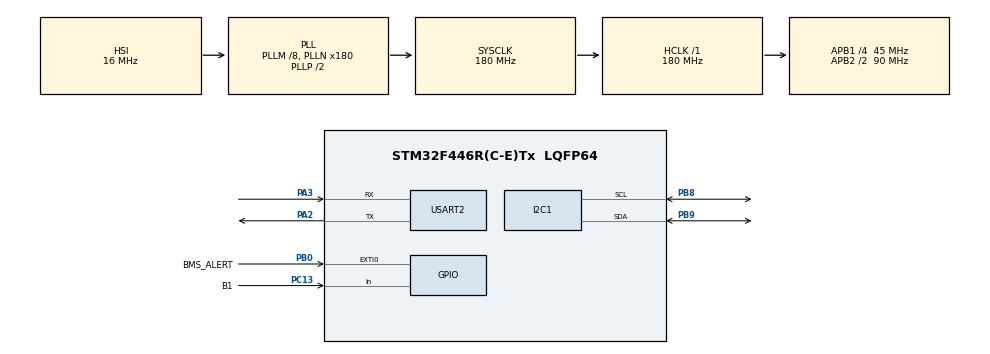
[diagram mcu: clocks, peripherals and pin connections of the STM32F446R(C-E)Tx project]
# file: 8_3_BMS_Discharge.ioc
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Mcu.Family=STM32F4
Mcu.Name=STM32F446R(C-E)Tx
Mcu.Package=LQFP64
NVIC.EXTI0_IRQn=true\:0\:0\:false\:false\:true\:true\:true\:true
NVIC.PriorityGroup=NVIC_PRIORITYGROUP_4
NVIC.USART2_IRQn=true\:0\:0\:false\:false\:true\:true\:true\:true
PA2.Mode=Asynchronous
PA2.Signal=USART2_TX
PA3.Mode=Asynchronous
PA3.Signal=USART2_RX
PB0.GPIO_Label=BMS_ALERT
PB0.GPIO_PuPd=GPIO_PULLDOWN
PB0.Signal=GPXTI0
PB8.Mode=I2C
PB8.Signal=I2C1_SCL
PB9.Mode=I2C
PB9.Signal=I2C1_SDA
PC13.GPIO_Label=B1
PC13.Signal=GPIO_Input
ProjectManager.HeapSize=0x200
ProjectManager.StackSize=0x400
ProjectManager.TargetToolchain=STM32CubeIDE
RCC.AHBFreq_Value=180000000
RCC.APB1CLKDivider=RCC_HCLK_DIV4
RCC.APB1Freq_Value=45000000
RCC.APB1TimFreq_Value=90000000
RCC.APB2CLKDivider=RCC_HCLK_DIV2
RCC.APB2Freq_Value=90000000
RCC.APB2TimFreq_Value=180000000
RCC.CortexFreq_Value=180000000
RCC.HCLKFreq_Value=180000000
RCC.PLLM=8
RCC.PLLN=180
RCC.SYSCLKFreq_VALUE=180000000
RCC.SYSCLKSource=RCC_SYSCLKSOURCE_PLLCLK
RCC.USBFreq_Value=180000000
RCC.VCOOutputFreq_Value=360000000
USART2.VirtualMode=VM_ASYNC
board=custom

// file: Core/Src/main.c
/* USER CODE BEGIN Header */
/**
  ******************************************************************************
  * @file           : main.c
  * @brief          : Main program body
  ******************************************************************************
  * @attention
  *
  * Copyright (c) 2026 STMicroelectronics.
  * All rights reserved.
  *
  * This software is licensed under terms that can be found in the LICENSE file
  * in the root directory of this software component.
  * If no LICENSE file comes with this software, it is provided AS-IS.
  *
  ******************************************************************************
  */
/* USER CODE END Header */
#include "main.h"

/* USER CODE BEGIN Includes */
#include <stdio.h>
#include <string.h>
#include <ctype.h>
#include "bq76920.h"
#include "discharge.h"
/* USER CODE END Includes */

I2C_HandleTypeDef hi2c1;

UART_HandleTypeDef huart2;

/* USER CODE BEGIN PV */
char buf[200];
DIS_Pack pack;
uint8_t  rx_byte;                       /* one byte at a time from USART2 */
char     rx_tail[16];                   /* the last characters received */
volatile uint8_t command;               /* set by the UART callback: 1 = start, 2 = stop */
/* USER CODE END PV */

void SystemClock_Config(void);
static void MX_GPIO_Init(void);
static void MX_I2C1_Init(void);
static void MX_USART2_UART_Init(void);

/* USER CODE BEGIN 0 */
static void send(const char *s)
{
  HAL_UART_Transmit(&huart2, (uint8_t *)s, strlen(s), HAL_MAX_DELAY);
}

/* One line with every cell, the pack total and the pack current. */
static void print_status(void)
{
  int n = 0;
  for (uint8_t k = 0; k < pack.count; k++)
  {
    n += snprintf(buf + n, sizeof(buf) - n, "Cell%u=%u ", k + 1, pack.mv[k]);
  }
  n += snprintf(buf + n, sizeof(buf) - n, "mV  Pack=%lu mV  I=%ld mA  %s",
                (unsigned long)pack.pack_mv, (long)pack.current_ma,
                pack.running ? "[DISCHARGING]" : "[IDLE]");
  if (pack.over_rating) n += snprintf(buf + n, sizeof(buf) - n, "  above rated %d mA", BQ76920_MAX_DISCHARGE_MA);
  snprintf(buf + n, sizeof(buf) - n, "\r\n");
  send(buf);
}

/* "Discharge stopped: <reason>" with the value that caused it. */
static void print_stop(DIS_Reason r)
{
  int n = snprintf(buf, sizeof(buf), "Discharge stopped: %s", DIS_ReasonText(r));
  if (r == DIS_CELL_UV)
  {
    n += snprintf(buf + n, sizeof(buf) - n, " (Cell%u = %u mV, limit %u mV)",
                  pack.culprit, pack.mv[pack.culprit - 1], DIS_CELL_CUTOFF_MV);
  }
  else if (r == DIS_PACK_UV)
  {
    n += snprintf(buf + n, sizeof(buf) - n, " (Pack = %lu mV, limit %u mV)",
                  (unsigned long)pack.pack_mv, DIS_PACK_CUTOFF_MV);
  }
  else if (r == DIS_OVERCURRENT)
  {
    n += snprintf(buf + n, sizeof(buf) - n, " (I = %ld mA, limit %d mA)", (long)pack.current_ma, DIS_OC_TRIP_MA);
  }
  else if (r == DIS_CHIP_FAULT)
  {
    n += snprintf(buf + n, sizeof(buf) - n, " (SYS_STAT=0x%02X)", pack.stat);
  }
  if (r != DIS_USER) n += snprintf(buf + n, sizeof(buf) - n, "\r\nSend \"discharge\" to start again");
  snprintf(buf + n, sizeof(buf) - n, "\r\n");
  send(buf);
}
/* USER CODE END 0 */

int main(void)
{

  /* MCU Configuration--------------------------------------------------------*/

  /* Reset of all peripherals, Initializes the Flash interface and the Systick. */
  HAL_Init();

  /* Configure the system clock */
  SystemClock_Config();

  /* Initialize all configured peripherals */
  MX_GPIO_Init();
  MX_I2C1_Init();
  MX_USART2_UART_Init();
  /* USER CODE BEGIN 2 */
  if (BQ76920_Init(&hi2c1) != HAL_OK || DIS_Detect(&pack) != HAL_OK)
  {
    while (1)                                   /* repeat, so a late Hercules still sees it */
    {
      send("BMS init failed\r\n");
      HAL_Delay(1000);
    }
  }
  snprintf(buf, sizeof(buf), "%u cells found. Send \"discharge\" to start, \"stop discharge\" to stop\r\n", pack.count);
  send(buf);
  memset(rx_tail, ' ', sizeof(rx_tail) - 1);     /* 15 spaces + terminator */
  HAL_UART_Receive_IT(&huart2, &rx_byte, 1);    /* start listening; the callback re-arms it */
  /* USER CODE END 2 */

  /* Infinite loop */
  while (1)
  {

    /* USER CODE BEGIN 3 */
    static uint32_t t_tick, t_print;            /* 250 ms protection tick, 1 s print */

    if (command != 0)
    {
      uint8_t c = command;
      command = 0;
      if (c == 1 && !pack.running)
      {
        DIS_Reason r = DIS_Start(&pack);
        if (r == DIS_NONE)
        {
          send("Discharge started\r\n");
        }
        else
        {
          pack.reason = r;
          print_stop(r);                        /* refused: the pack is already below a limit */
        }
      }
      else if (c == 2 && pack.running)
      {
        DIS_Stop(&pack, DIS_USER);
        print_stop(DIS_USER);
      }
    }

    if (HAL_GetTick() - t_tick >= 250)          /* the chip refreshes the current every 250 ms */
    {
      t_tick += 250;
      if (DIS_Tick(&pack)) print_stop(pack.reason);
    }
    if (HAL_GetTick() - t_print >= 1000)
    {
      t_print += 1000;
      print_status();
    }
  }
  /* USER CODE END 3 */
}

void SystemClock_Config(void)
{
  RCC_OscInitTypeDef RCC_OscInitStruct = {0};
  RCC_ClkInitTypeDef RCC_ClkInitStruct = {0};

  /** Configure the main internal regulator output voltage
  */
  __HAL_RCC_PWR_CLK_ENABLE();
  __HAL_PWR_VOLTAGESCALING_CONFIG(PWR_REGULATOR_VOLTAGE_SCALE1);

  /** Initializes the RCC Oscillators according to the specified parameters
  * in the RCC_OscInitTypeDef structure.
  */
  RCC_OscInitStruct.OscillatorType = RCC_OSCILLATORTYPE_HSI;
  RCC_OscInitStruct.HSIState = RCC_HSI_ON;
  RCC_OscInitStruct.HSICalibrationValue = RCC_HSICALIBRATION_DEFAULT;
  RCC_OscInitStruct.PLL.PLLState = RCC_PLL_ON;
  RCC_OscInitStruct.PLL.PLLSource = RCC_PLLSOURCE_HSI;
  RCC_OscInitStruct.PLL.PLLM = 8;
  RCC_OscInitStruct.PLL.PLLN = 180;
  RCC_OscInitStruct.PLL.PLLP = RCC_PLLP_DIV2;
  RCC_OscInitStruct.PLL.PLLQ = 2;
  RCC_OscInitStruct.PLL.PLLR = 2;
  if (HAL_RCC_OscConfig(&RCC_OscInitStruct) != HAL_OK)
  {
    Error_Handler();
  }

  /** Activate the Over-Drive mode
  */
  if (HAL_PWREx_EnableOverDrive() != HAL_OK)
  {
    Error_Handler();
  }

  /** Initializes the CPU, AHB and APB buses clocks
  */
  RCC_ClkInitStruct.ClockType = RCC_CLOCKTYPE_HCLK|RCC_CLOCKTYPE_SYSCLK
                              |RCC_CLOCKTYPE_PCLK1|RCC_CLOCKTYPE_PCLK2;
  RCC_ClkInitStruct.SYSCLKSource = RCC_SYSCLKSOURCE_PLLCLK;
  RCC_ClkInitStruct.AHBCLKDivider = RCC_SYSCLK_DIV1;
  RCC_ClkInitStruct.APB1CLKDivider = RCC_HCLK_DIV4;
  RCC_ClkInitStruct.APB2CLKDivider = RCC_HCLK_DIV2;

  if (HAL_RCC_ClockConfig(&RCC_ClkInitStruct, FLASH_LATENCY_5) != HAL_OK)
  {
    Error_Handler();
  }
}

static void MX_I2C1_Init(void)
{

  hi2c1.Instance = I2C1;
  hi2c1.Init.ClockSpeed = 100000;
  hi2c1.Init.DutyCycle = I2C_DUTYCYCLE_2;
  hi2c1.Init.OwnAddress1 = 0;
  hi2c1.Init.AddressingMode = I2C_ADDRESSINGMODE_7BIT;
  hi2c1.Init.DualAddressMode = I2C_DUALADDRESS_DISABLE;
  hi2c1.Init.OwnAddress2 = 0;
  hi2c1.Init.GeneralCallMode = I2C_GENERALCALL_DISABLE;
  hi2c1.Init.NoStretchMode = I2C_NOSTRETCH_DISABLE;
  if (HAL_I2C_Init(&hi2c1) != HAL_OK)
  {
    Error_Handler();
  }

}

static void MX_USART2_UART_Init(void)
{

  huart2.Instance = USART2;
  huart2.Init.BaudRate = 115200;
  huart2.Init.WordLength = UART_WORDLENGTH_8B;
  huart2.Init.StopBits = UART_STOPBITS_1;
  huart2.Init.Parity = UART_PARITY_NONE;
  huart2.Init.Mode = UART_MODE_TX_RX;
  huart2.Init.HwFlowCtl = UART_HWCONTROL_NONE;
  huart2.Init.OverSampling = UART_OVERSAMPLING_16;
  if (HAL_UART_Init(&huart2) != HAL_OK)
  {
    Error_Handler();
  }

}

static void MX_GPIO_Init(void)
{
  GPIO_InitTypeDef GPIO_InitStruct = {0};

  /* GPIO Ports Clock Enable */
  __HAL_RCC_GPIOC_CLK_ENABLE();
  __HAL_RCC_GPIOA_CLK_ENABLE();
  __HAL_RCC_GPIOB_CLK_ENABLE();

  /*Configure GPIO pin : B1_Pin */
  GPIO_InitStruct.Pin = B1_Pin;
  GPIO_InitStruct.Mode = GPIO_MODE_INPUT;
  GPIO_InitStruct.Pull = GPIO_NOPULL;
  HAL_GPIO_Init(B1_GPIO_Port, &GPIO_InitStruct);

  /*Configure GPIO pin : BMS_ALERT_Pin */
  GPIO_InitStruct.Pin = BMS_ALERT_Pin;
  GPIO_InitStruct.Mode = GPIO_MODE_IT_RISING;
  GPIO_InitStruct.Pull = GPIO_PULLDOWN;
  HAL_GPIO_Init(BMS_ALERT_GPIO_Port, &GPIO_InitStruct);

  /* EXTI interrupt init*/
  HAL_NVIC_SetPriority(EXTI0_IRQn, 0, 0);
  HAL_NVIC_EnableIRQ(EXTI0_IRQn);

}

/* USER CODE BEGIN 4 */
/* Called for every received byte. Match the end of the text, so no Enter is needed. */
void HAL_UART_RxCpltCallback(UART_HandleTypeDef *h)
{
  if (h->Instance == USART2)
  {
    if (rx_byte != '\r' && rx_byte != '\n')
    {
      memmove(rx_tail, rx_tail + 1, sizeof(rx_tail) - 2);      /* shift left, keep the last 14 characters */
      rx_tail[sizeof(rx_tail) - 2] = (char)tolower(rx_byte);
      rx_tail[sizeof(rx_tail) - 1] = 0;

      if (strstr(rx_tail, "stop discharge") != NULL)           /* test "stop discharge" first: it also ends in "discharge" */
      {
        command = 2;
        memset(rx_tail, ' ', sizeof(rx_tail) - 1);   /* back to spaces */
      }
      else if (strlen(rx_tail) >= 9 && strcmp(rx_tail + strlen(rx_tail) - 9, "discharge") == 0)
      {
        command = 1;
        memset(rx_tail, ' ', sizeof(rx_tail) - 1);   /* back to spaces */
      }
    }
    HAL_UART_Receive_IT(&huart2, &rx_byte, 1);                 /* re-arm, or no further byte arrives */
  }
}

/* USER CODE END 4 */

void Error_Handler(void)
{
  __disable_irq();
  while (1)
  {
  }
}
